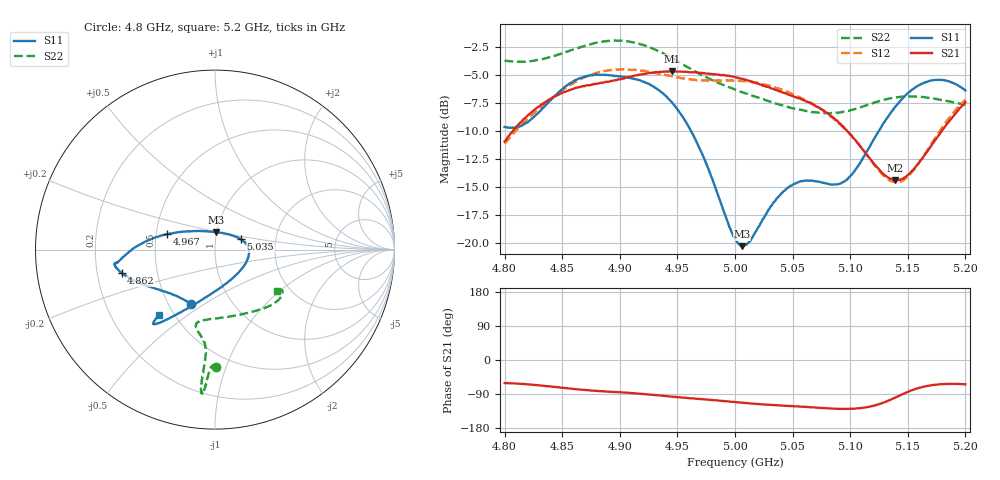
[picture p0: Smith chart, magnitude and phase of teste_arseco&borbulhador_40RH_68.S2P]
! Network Analyzer HP8722D
! Hewlett-Packard
! Data name: Linha & Wilkinson
! Saver's name: Rodrigo Anjos
! Comments: Teste da utilização de aquisição
! continua pelo VNA HP8722D
! Time and date: 15/4/2025 16:55
!  Frequency  S11  S21  S12  S22
# HZ  S  MA R 50
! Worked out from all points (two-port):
!   401 points, 4.8 GHz to 5.2 GHz, reference 50 ohm
!   highest |S21| = -4.65 dB at 4.945 GHz (marker M1); lowest = -14.4 dB at 5.139 GHz (marker M2)
!   |S21| within 3 dB of the highest: 4.832 GHz to 5.068 GHz (236.9 MHz wide, 4.79 % of centre); 5.197905 GHz to end of sweep
!   lowest |S11| = -20.3 dB at 5.006 GHz (marker M3), VSWR 1.22, Z = 49.8 + j9.74 ohm
!   |S11| at or under -10 dB: 4.962 GHz to 5.125 GHz (162.7 MHz wide, 3.23 % of centre)
!   |S22| runs from -8.4 to -1.9 dB; largest |S21 - S12| = 0.88
!   S11 on the Smith chart (normalised r, x): 4.8 GHz: 0.65, -0.44; 4.862 GHz: 0.31, -0.11; 4.967 GHz: 0.57, +0.11; 5.035 GHz: 1.32, +0.16; 5.2 GHz: 0.41, -0.39
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4.8e9  0.3306 -114.0  0.2852 -60.8  0.2785 -175.1  0.655 -89.6
4.819e9  0.3452 -133.9  0.3673 -63.9  0.355 -173.6  0.6497 -91.3
4.862e9  0.5368 -165.9  0.4945 -76.9  0.5282 -176.7  0.7408 -93.7
4.867e9  0.5493 -167.9  0.5016 -78.4  0.5431 -177.6  0.7535 -93.9
4.9e9  0.5562 -172.3  0.539 -85.2  0.5974 175.6  0.8033 -95.3
4.934e9  0.4824 -178.3  0.5803 -93.6  0.5745 171.7  0.7181 -95.7
4.945e9  0.4268 176.8  0.5854 -96.7  0.5566 171.9  0.6713 -95.4
4.967e9  0.2813 162.2  0.5779 -102.3  0.5344 173.8  0.5784 -95.0
5e9  0.1048 105.6  0.5525 -111.1  0.5325 176.3  0.4857 -99.4
5.006e9  0.09715 85.7  0.5424 -112.7  0.5311 176.2  0.4738 -100.9
5.014e9  0.1041 59.6  0.5287 -114.8  0.5257 176.0  0.4591 -102.6
5.035e9  0.1548 21.9  0.484 -119.2  0.4961 174.9  0.4212 -103.9
5.05e9  0.1824 6.1  0.4543 -121.7  0.4631 174.3  0.4005 -100.3
5.067e9  0.1904 -12.3  0.4201 -124.9  0.4205 173.9  0.3855 -91.6
5.087e9  0.1834 -44.9  0.3567 -128.6  0.3548 173.6  0.3823 -76.7
5.097e9  0.1922 -65.9  0.3187 -129.0  0.3177 174.5  0.3892 -68.3
5.134e9  0.3747 -116.6  0.1953 -106.0  0.1913 -159.0  0.4429 -43.4
5.139e9  0.406 -119.6  0.1914 -99.2  0.1879 -151.1  0.4474 -41.2
5.151e9  0.472 -124.5  0.2033 -83.0  0.201 -132.3  0.4529 -36.7
5.17e9  0.5326 -128.8  0.271 -66.8  0.2754 -113.0  0.4449 -32.2
5.184e9  0.5305 -130.2  0.341 -63.2  0.3518 -107.2  0.432 -31.2
5.2e9  0.4808 -130.6  0.4266 -64.2  0.4375 -106.3  0.4157 -33.6
